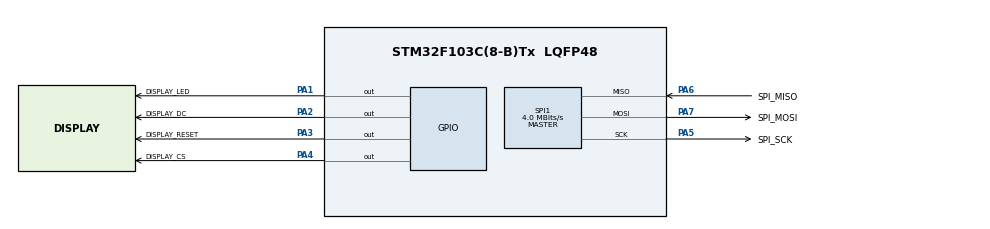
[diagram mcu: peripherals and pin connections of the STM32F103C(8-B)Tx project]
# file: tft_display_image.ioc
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Mcu.Family=STM32F1
PA6.Mode=Full_Duplex_Master
PA7.Mode=Full_Duplex_Master
PD1-OSC_OUT.Mode=HSE-External-Oscillator
SPI1.VirtualType=VM_MASTER
PA6.GPIO_Label=SPI_MISO
NVIC.TIM1_UP_IRQn=true\:0\:0\:false\:false\:true\:false\:true
PD0-OSC_IN.Signal=RCC_OSC_IN
ProjectManager.StackSize=0x400
PD1-OSC_OUT.Signal=RCC_OSC_OUT
PA13.Signal=SYS_JTMS-SWDIO
ProjectManager.TargetToolchain=STM32CubeIDE
SPI1.Direction=SPI_DIRECTION_2LINES
SPI1.CalculateBaudRate=4.0 MBits/s
PA1.Signal=GPIO_Output
PD0-OSC_IN.Mode=HSE-External-Oscillator
PA5.Signal=SPI1_SCK
board=custom
RCC.APB2Freq_Value=8000000
SPI1.Mode=SPI_MODE_MASTER
PA14.Mode=Serial_Wire
VP_SYS_VS_tim1.Mode=TIM1
PA1.GPIO_Label=DISPLAY_LED
PA13.Mode=Serial_Wire
Mcu.Name=STM32F103C(8-B)Tx
PA2.Signal=GPIO_Output
PA4.Signal=GPIO_Output
Mcu.Package=LQFP48
PA6.Signal=SPI1_MISO
PA7.GPIO_Label=SPI_MOSI
NVIC.TimeBase=TIM1_UP_IRQn
PA5.GPIO_Label=SPI_SCK
PA2.GPIO_Label=DISPLAY_DC
NVIC.TimeBaseIP=TIM1
PA14.Signal=SYS_JTCK-SWCLK
ProjectManager.HeapSize=0x200
NVIC.PriorityGroup=NVIC_PRIORITYGROUP_4
RCC.APB1Freq_Value=8000000
PA4.GPIO_Label=DISPLAY_CS
PA3.GPIO_Label=DISPLAY_RESET
PA3.Signal=GPIO_Output
PA5.Mode=Full_Duplex_Master
PA7.Signal=SPI1_MOSI

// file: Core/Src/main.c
/* USER CODE BEGIN Header */
/*
 * The following code was made to control a 240x320 TFT screen which uses the ILI9341 controller,
 * it shows how to render an image on the screen.
 */
/* USER CODE END Header */
#include "main.h"

/* USER CODE BEGIN Includes */
#include "tft_display.h"
#include "tft_images.h"
#include "tft_fonts.h"
#include "FreeRTOS.h"
#include "task.h"
/* USER CODE END Includes */

SPI_HandleTypeDef hspi1;

void SystemClock_Config(void);
static void MX_GPIO_Init(void);
static void MX_SPI1_Init(void);

/* USER CODE BEGIN 0 */

static void Display(void *pvParameters){

	TFT_Display_FillScreen(COLOR_WHITE);
	TFT_Display_DrawRectangle(COLOR_BLUE, 5, 5, TFT_Display_WIDTH-6, TFT_Display_HEIGHT-6);
	TFT_Display_DrawImage(98, 18, 125, 125, (const uint8_t*)logo);
	TFT_Display_WriteString(90, 165, "Laboratorio de", Font_11x18, COLOR_BLUE, COLOR_WHITE);
	TFT_Display_WriteString(65, 195, "Sistemas Embebidos", Font_11x18, COLOR_BLUE, COLOR_WHITE);

	while(1){}
}

/* USER CODE END 0 */

int main(void)
{

  /* MCU Configuration--------------------------------------------------------*/

  /* Reset of all peripherals, Initializes the Flash interface and the Systick. */
  HAL_Init();

  /* Configure the system clock */
  SystemClock_Config();

  /* Initialize all configured peripherals */
  MX_GPIO_Init();
  MX_SPI1_Init();
  /* USER CODE BEGIN 2 */

  TFT_Display_Unselect();
  TFT_Display_Init();

  xTaskCreate(Display,
  		  	  	(char *) "",
           		configMINIMAL_STACK_SIZE,
  				NULL,
  				(tskIDLE_PRIORITY + 1UL),
           		NULL);

  vTaskStartScheduler();
  /* USER CODE END 2 */

  /* Infinite loop */
  while (1)
  {

  }
}

void SystemClock_Config(void)
{
  RCC_OscInitTypeDef RCC_OscInitStruct = {0};
  RCC_ClkInitTypeDef RCC_ClkInitStruct = {0};

  /** Initializes the RCC Oscillators according to the specified parameters
  * in the RCC_OscInitTypeDef structure.
  */
  RCC_OscInitStruct.OscillatorType = RCC_OSCILLATORTYPE_HSI;
  RCC_OscInitStruct.HSIState = RCC_HSI_ON;
  RCC_OscInitStruct.HSICalibrationValue = RCC_HSICALIBRATION_DEFAULT;
  RCC_OscInitStruct.PLL.PLLState = RCC_PLL_NONE;
  if (HAL_RCC_OscConfig(&RCC_OscInitStruct) != HAL_OK)
  {
    Error_Handler();
  }
  /** Initializes the CPU, AHB and APB buses clocks
  */
  RCC_ClkInitStruct.ClockType = RCC_CLOCKTYPE_HCLK|RCC_CLOCKTYPE_SYSCLK
                              |RCC_CLOCKTYPE_PCLK1|RCC_CLOCKTYPE_PCLK2;
  RCC_ClkInitStruct.SYSCLKSource = RCC_SYSCLKSOURCE_HSI;
  RCC_ClkInitStruct.AHBCLKDivider = RCC_SYSCLK_DIV1;
  RCC_ClkInitStruct.APB1CLKDivider = RCC_HCLK_DIV1;
  RCC_ClkInitStruct.APB2CLKDivider = RCC_HCLK_DIV1;

  if (HAL_RCC_ClockConfig(&RCC_ClkInitStruct, FLASH_LATENCY_0) != HAL_OK)
  {
    Error_Handler();
  }
}

static void MX_SPI1_Init(void)
{

  /* SPI1 parameter configuration*/
  hspi1.Instance = SPI1;
  hspi1.Init.Mode = SPI_MODE_MASTER;
  hspi1.Init.Direction = SPI_DIRECTION_2LINES;
  hspi1.Init.DataSize = SPI_DATASIZE_8BIT;
  hspi1.Init.CLKPolarity = SPI_POLARITY_LOW;
  hspi1.Init.CLKPhase = SPI_PHASE_1EDGE;
  hspi1.Init.NSS = SPI_NSS_SOFT;
  hspi1.Init.BaudRatePrescaler = SPI_BAUDRATEPRESCALER_2;
  hspi1.Init.FirstBit = SPI_FIRSTBIT_MSB;
  hspi1.Init.TIMode = SPI_TIMODE_DISABLE;
  hspi1.Init.CRCCalculation = SPI_CRCCALCULATION_DISABLE;
  hspi1.Init.CRCPolynomial = 10;
  if (HAL_SPI_Init(&hspi1) != HAL_OK)
  {
    Error_Handler();
  }

}

static void MX_GPIO_Init(void)
{
  GPIO_InitTypeDef GPIO_InitStruct = {0};

  /* GPIO Ports Clock Enable */
  __HAL_RCC_GPIOD_CLK_ENABLE();
  __HAL_RCC_GPIOA_CLK_ENABLE();

  /*Configure GPIO pin Output Level */
  HAL_GPIO_WritePin(GPIOA, DISPLAY_LED_Pin|DISPLAY_DC_Pin|DISPLAY_RESET_Pin|DISPLAY_CS_Pin, GPIO_PIN_RESET);

  /*Configure GPIO pins : DISPLAY_LED_Pin DISPLAY_DC_Pin DISPLAY_RESET_Pin DISPLAY_CS_Pin */
  GPIO_InitStruct.Pin = DISPLAY_LED_Pin|DISPLAY_DC_Pin|DISPLAY_RESET_Pin|DISPLAY_CS_Pin;
  GPIO_InitStruct.Mode = GPIO_MODE_OUTPUT_PP;
  GPIO_InitStruct.Pull = GPIO_NOPULL;
  GPIO_InitStruct.Speed = GPIO_SPEED_FREQ_LOW;
  HAL_GPIO_Init(GPIOA, &GPIO_InitStruct);

}

 /**
  * @brief  Period elapsed callback in non blocking mode
  * @note   This function is called  when TIM1 interrupt took place, inside
  * HAL_TIM_IRQHandler(). It makes a direct call to HAL_IncTick() to increment
  * a global variable "uwTick" used as application time base.
  * @param  htim : TIM handle
  * @retval None
  */
void HAL_TIM_PeriodElapsedCallback(TIM_HandleTypeDef *htim)
{
  if (htim->Instance == TIM1) {
    HAL_IncTick();
  }
}

void Error_Handler(void)
{
  __disable_irq();
  while (1)
  {
  }
}

/************************ (C) COPYRIGHT STMicroelectronics *****END OF FILE****/
